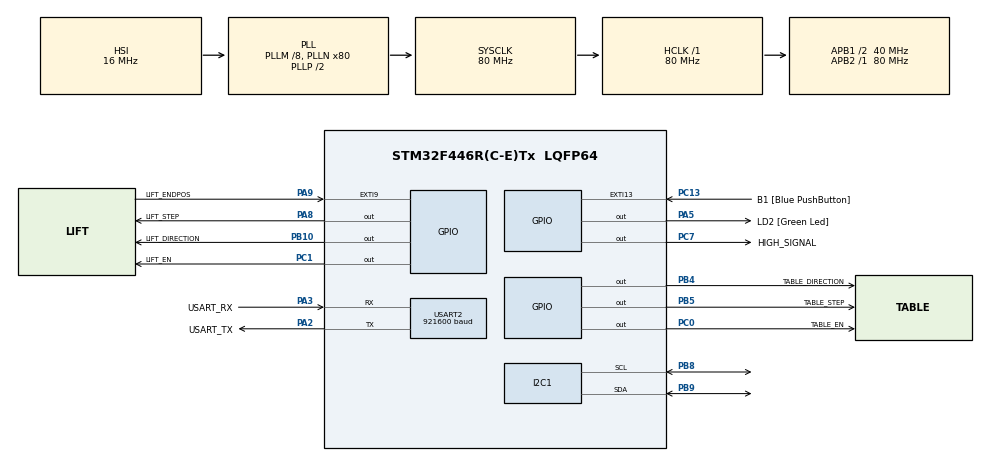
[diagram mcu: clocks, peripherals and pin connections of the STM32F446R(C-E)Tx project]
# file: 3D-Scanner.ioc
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Mcu.Family=STM32F4
Mcu.Name=STM32F446R(C-E)Tx
Mcu.Package=LQFP64
NVIC.PriorityGroup=NVIC_PRIORITYGROUP_0
NVIC.TIM2_IRQn=true\:0\:0\:false\:false\:true\:true\:true\:true
NVIC.TIM3_IRQn=true\:0\:0\:false\:false\:true\:true\:true\:true
NVIC.TIM4_IRQn=true\:0\:0\:false\:false\:true\:true\:true\:true
PA13.GPIO_Label=TMS
PA13.Mode=Serial_Wire
PA13.Signal=SYS_JTMS-SWDIO
PA14.GPIO_Label=TCK
PA14.Mode=Serial_Wire
PA14.Signal=SYS_JTCK-SWCLK
PA2.GPIO_Label=USART_TX
PA2.Mode=Asynchronous
PA2.Signal=USART2_TX
PA3.GPIO_Label=USART_RX
PA3.Mode=Asynchronous
PA3.Signal=USART2_RX
PA5.GPIO_Label=LD2 [Green Led]
PA5.Signal=GPIO_Output
PA8.GPIO_Label=LIFT_STEP
PA8.GPIO_Speed=GPIO_SPEED_FREQ_VERY_HIGH
PA8.Signal=GPIO_Output
PA9.GPIO_Label=LIFT_ENDPOS
PA9.GPIO_PuPd=GPIO_PULLDOWN
PA9.Signal=GPXTI9
PB10.GPIO_Label=LIFT_DIRECTION
PB10.Signal=GPIO_Output
PB3.GPIO_Label=SWO
PB3.Signal=SYS_JTDO-SWO
PB4.GPIO_Label=TABLE_DIRECTION
PB4.Signal=GPIO_Output
PB5.GPIO_Label=TABLE_STEP
PB5.GPIO_Speed=GPIO_SPEED_FREQ_VERY_HIGH
PB5.Signal=GPIO_Output
PB8.Mode=I2C
PB8.Signal=I2C1_SCL
PB9.Mode=I2C
PB9.Signal=I2C1_SDA
PC0.GPIO_Label=TABLE_EN
PC0.GPIO_Speed=GPIO_SPEED_FREQ_HIGH
PC0.Signal=GPIO_Output
PC1.GPIO_Label=LIFT_EN
PC1.GPIO_Speed=GPIO_SPEED_FREQ_HIGH
PC1.Signal=GPIO_Output
PC13.GPIO_Label=B1 [Blue PushButton]
PC13.GPIO_ModeDefaultEXTI=GPIO_MODE_IT_FALLING
PC13.Signal=GPXTI13
PC14-OSC32_IN.Mode=LSE-External-Oscillator
PC14-OSC32_IN.Signal=RCC_OSC32_IN
PC15-OSC32_OUT.Mode=LSE-External-Oscillator
PC15-OSC32_OUT.Signal=RCC_OSC32_OUT
PC7.GPIO_Label=HIGH_SIGNAL
PC7.PinState=GPIO_PIN_SET
PC7.Signal=GPIO_Output
PH0-OSC_IN.Mode=HSE-External-Oscillator
PH0-OSC_IN.Signal=RCC_OSC_IN
PH1-OSC_OUT.Mode=HSE-External-Oscillator
PH1-OSC_OUT.Signal=RCC_OSC_OUT
ProjectManager.HeapSize=0x200
ProjectManager.StackSize=0x400
ProjectManager.TargetToolchain=STM32CubeIDE
RCC.48MHZClocksFreq_Value=84000000
RCC.AHBFreq_Value=80000000
RCC.APB1CLKDivider=RCC_HCLK_DIV2
RCC.APB1Freq_Value=40000000
RCC.APB1TimFreq_Value=80000000
RCC.APB2Freq_Value=80000000
RCC.APB2TimFreq_Value=80000000
RCC.CortexFreq_Value=80000000
RCC.FLatency-AdvancedSettings=FLASH_LATENCY_2
RCC.HCLKFreq_Value=80000000
RCC.HSE_VALUE=8000000
RCC.HSI_VALUE=16000000
RCC.PLLM=8
RCC.PLLN=80
RCC.SYSCLKFreq_VALUE=80000000
RCC.SYSCLKSource=RCC_SYSCLKSOURCE_PLLCLK
RCC.USBFreq_Value=80000000
RCC.VCOOutputFreq_Value=160000000
TIM2.CounterMode=TIM_COUNTERMODE_DOWN
TIM2.Period=1
TIM2.Prescaler=4000-1
TIM3.Period=2500-1
TIM3.Prescaler=8000-1
TIM4.Period=80-1
TIM4.Prescaler=10000-1
USART2.BaudRate=921600
USART2.VirtualMode=VM_ASYNC
VP_TIM2_VS_ClockSourceINT.Mode=Internal
VP_TIM3_VS_ClockSourceINT.Mode=Internal
VP_TIM4_VS_ClockSourceINT.Mode=Internal
board=NUCLEO-F446RE

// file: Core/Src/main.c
/* USER CODE BEGIN Header */

/**
* Copyright 2022 Jean-Marcel Herzog
*
* Permission is hereby granted, free of charge, to any person obtaining a copy of this software and
* associated documentation files (the "Software"), to deal in the Software without restriction,
* including without limitation the rights to use, copy, modify, merge, publish, distribute, sublicense
* and/or sell copies of the Software, and to permit persons to whom the Software is furnished to do
* so, subject to the following conditions:
*
* The above copyright notice and this permission notice shall be included in all copies or
* substantial portions of the Software.
*
* THE SOFTWARE IS PROVIDED "AS IS", WITHOUT WARRANTY OF ANY KIND, EXPRESS OR IMPLIED,
* INCLUDING BUT NOT LIMITED TO THE WARRANTIES OF MERCHANTABILITY, FITNESS FOR A
* PARTICULAR PURPOSE AND NONINFRINGEMENT. IN NO EVENT SHALL THE AUTHORS OR
* COPYRIGHT HOLDERS BE LIABLE FOR ANY CLAIM, DAMAGES OR OTHER LIABILITY, WHETHER IN
* AN ACTION OF CONTRACT, TORT OR OTHERWISE, ARISING FROM, OUT OF OR IN CONNECTION
* WITH THE SOFTWARE OR THE USE OR OTHER DEALINGS IN THE SOFTWARE.
*/

/**
 * @author: Herzog, Jean-Marcel
 * @file main.c
 * @copyright Copyright 2022 Jean-Marcel Herzog. This project is released under the MIT license.
 * @date 11.05.2022
 * @version 1
*/

/* USER CODE END Header */
#include "main.h"

/* USER CODE BEGIN Includes */
#include "machine_parameter.h"
#include "vl6180x.h"
#include "types.h"
#include <math.h>
#include <string.h>
/* USER CODE END Includes */

 I2C_HandleTypeDef hi2c1;

TIM_HandleTypeDef htim2;
TIM_HandleTypeDef htim3;
TIM_HandleTypeDef htim4;

UART_HandleTypeDef huart2;

/* USER CODE BEGIN PV */
tScanner scanner;							/**< Scanner instance - contains all informations about the scanner. */
size_t point_index;							/**< Calculated point buffer index. */
tPoint points[10000];						/**< Buffer for calculated points. */
size_t measurement_index;					/**< Measured distances buffer index. */
tMeasurement measurements[N_MEASUREMENTS];	/**< Buffer for measured distances for one table turn. */
uint8_t tim2_activated;						/**< Flag for TIMER2 Interrupt - 0x01 := Interrupt activated 0x00 := Interrupt deactivated */
uint8_t tim3_activated;						/**< Flag for TIMER3 Interrupt - 0x01 := Interrupt activated 0x00 := Interrupt deactivated */
uint8_t tim4_activated;						/**< Flag for TIMER4 interrupt - 0x01 := Interrupt activated 0x00 := Interrupt deactivated */
uint8_t Z;									/**< Scanned rows counter variable. */
uint8_t i;									/**< Global index variable used by for-loops */
uint8_t invalid_measurements;				/**< Flag variable - 0x01 := Invalid measurements detected 0x00 := All measurements of last scanned row valid */
/* USER CODE END PV */

void SystemClock_Config(void);
static void MX_GPIO_Init(void);
static void MX_USART2_UART_Init(void);
static void MX_I2C1_Init(void);
static void MX_TIM2_Init(void);
static void MX_TIM3_Init(void);
static void MX_TIM4_Init(void);
/* USER CODE BEGIN PFP */
int16_t convert_float_to_int16(float *value);
uint8_t calculate_point(tPoint *p, size_t measurement_index);
/* USER CODE END PFP */

int main(void)
{
  /* USER CODE BEGIN 1 */

	//----------------------------------//
	// Initialize Scanner Object.		//
	//----------------------------------//
	scanner.state			= STATE_INITIALIZING;
	scanner.scan_running	= 0x00;
	scanner.lift_homed		= 0x00;
	scanner.lift_dir		= 0x00;
	point_index				= 0;
	measurement_index		= 0;
	tim3_activated			= 0;
	tim2_activated			= 0;
	invalid_measurements	= 0;

  /* USER CODE END 1 */

  /* MCU Configuration--------------------------------------------------------*/

  /* Reset of all peripherals, Initializes the Flash interface and the Systick. */
  HAL_Init();

  /* Configure the system clock */
  SystemClock_Config();

  /* Initialize all configured peripherals */
  MX_GPIO_Init();
  MX_USART2_UART_Init();
  MX_I2C1_Init();
  MX_TIM2_Init();
  MX_TIM3_Init();
  MX_TIM4_Init();
  /* USER CODE BEGIN 2 */

  uint8_t sensor_addr = 1;
  uint8_t ret = 0x00;
  while ( sensor_addr <= 255){
	  ret  = HAL_I2C_IsDeviceReady(&hi2c1, sensor_addr++, 3, 5);
	  if (ret == HAL_OK)
		  break;
  }

  /* USER CODE END 2 */

  /* Infinite loop */
  /* USER CODE BEGIN WHILE */
  while (1)
  {

		/*--------------------------------------------
		 * STATE: INITIALIZING
		 * --------------------------------------------*/
		if (scanner.state == STATE_INITIALIZING) {

			// Disable both stepper motors.
			HAL_GPIO_WritePin(TABLE_EN_GPIO_Port, TABLE_EN_Pin, GPIO_PIN_SET);
			HAL_GPIO_WritePin(LIFT_EN_GPIO_Port, LIFT_EN_Pin, GPIO_PIN_SET);

			// Initialize Distance Sensor
			DistanceSensor_Init(&scanner.sensor_a, &hi2c1, sensor_addr);

			// Set direction of lift to upwards
			scanner.lift_dir			= 0x01;
			scanner.lift_profile.pos	= LIFT_MIN_POS;

			// Set direction for table
			scanner.table_profile.pos = 0.0;
			HAL_GPIO_WritePin(TABLE_DIRECTION_GPIO_Port, TABLE_DIRECTION_Pin, GPIO_PIN_SET);

			// Start interrupt for status LED on evaluation board
			if (!tim3_activated)
			{
				tim3_activated = 0x01;
				HAL_TIM_Base_Start_IT(&htim3);
			}

			// Start interrupt for distance measurements
			if (!tim4_activated)
			{
				tim4_activated = 0x01;
				HAL_TIM_Base_Start_IT(&htim4);
			}

			generate_motion_profile(&scanner.table_profile, 360.0, 0.5, 80.0, 90.0, TABLE_STEPS_PER_ROTATION, 10000.0);
			generate_motion_profile(&scanner.lift_profile, 720.0, 0.5 , 800.0, 800.0, LIFT_STEPS_PER_MM, 10000.0);

			scanner.state = STATE_INITIALIZED;
		}

		/*--------------------------------------------
		 * STATE: INITIALIZED
		 * --------------------------------------------*/
		if (scanner.state == STATE_INITIALIZED) {

			if (HAL_GPIO_ReadPin(B1_GPIO_Port, B1_Pin) == 0x00 && HAL_GPIO_ReadPin(LIFT_ENDPOS_GPIO_Port, LIFT_ENDPOS_Pin) == 0x01)
				scanner.state = STATE_READY_TO_SCAN;
			else if (HAL_GPIO_ReadPin(B1_GPIO_Port, B1_Pin) == 0x00)
				scanner.state = STATE_HOME_LIFT;
		}

		/*--------------------------------------------
		 * STATE: HOME LIFT
		 * --------------------------------------------*/
		if (scanner.state == STATE_HOME_LIFT) {

			// Initiate stepper movement.
			if(scanner.lift_profile.enabled == 0x00 && HAL_GPIO_ReadPin(LIFT_ENDPOS_GPIO_Port, LIFT_ENDPOS_Pin) == 0x01)
			{
				tim2_activated	= 0x00;
				HAL_GPIO_WritePin(LIFT_EN_GPIO_Port, LIFT_EN_Pin, GPIO_PIN_SET);
				HAL_GPIO_WritePin(LIFT_DIRECTION_GPIO_Port, LIFT_DIRECTION_Pin, GPIO_PIN_RESET);
				HAL_TIM_Base_Stop_IT(&htim2);
				scanner.lift_profile.pos = 0.0;
				scanner.state = STATE_READY_TO_SCAN;
			}

			// Stepper requested movement done.
			else if(scanner.lift_profile.enabled == 0x00)
			{
				scanner.lift_profile.enabled	= 0x01;
				tim2_activated					= 0x01;
				HAL_GPIO_WritePin(LIFT_DIRECTION_GPIO_Port, LIFT_DIRECTION_Pin, GPIO_PIN_SET);
				HAL_GPIO_WritePin(LIFT_EN_GPIO_Port, LIFT_EN_Pin, GPIO_PIN_RESET);
				HAL_TIM_Base_Start_IT(&htim2);
			}
		}

		/*--------------------------------------------
		 * STATE: READY TO SCAN
		 * --------------------------------------------*/
		if (scanner.state == STATE_READY_TO_SCAN) {

			// Deactivate Interrupt for Status LED
			if (tim3_activated == 0x01) {
				tim3_activated = 0x00;
				HAL_TIM_Base_Stop_IT(&htim3);
				HAL_GPIO_WritePin(LD2_GPIO_Port, LD2_Pin, GPIO_PIN_SET);
			}

			// Start Scan
			if ( HAL_GPIO_ReadPin(B1_GPIO_Port, B1_Pin) == 0x00 )
			{
				scanner.scan_running = 0x01;
				scanner.state = STATE_MOVE_TABLE;
			}
		}

		/*--------------------------------------------
		 * STATE: STATE MOVE TABLE
		 * --------------------------------------------*/
		if (scanner.state == STATE_MOVE_TABLE) {

			// Initiate table stepper movement.
			if (tim2_activated == 0x00) {
				reset_motion_profile(&scanner.table_profile, 10000.0);

				// Initial scanned point at position 0.0°.
				measurements[measurement_index].distance = scanner.sensor_a.distance;
				measurements[measurement_index++].position = 0.0;

				scanner.table_profile.enabled = 0x01;
				tim2_activated = 0x01;
				HAL_GPIO_WritePin(TABLE_EN_GPIO_Port, TABLE_EN_Pin, GPIO_PIN_RESET);
				HAL_TIM_Base_Start_IT(&htim2);

			}

			// Stepper requested movement done
			if (scanner.table_profile.enabled == 0x00) {
				tim2_activated = 0x00;
				HAL_GPIO_WritePin(TABLE_EN_GPIO_Port, TABLE_EN_Pin, GPIO_PIN_SET);
				HAL_TIM_Base_Stop_IT(&htim2);

				if (scanner.lift_profile.pos >= 90.0)
					scanner.scan_running = 0x00;

				scanner.state = STATE_CALC_POINTS;

			} else if (scanner.scan_running == 0x01) { scanner.state = STATE_SCAN_ROW; }
		}

		/*--------------------------------------------
		 * STATE: STATE CALC AND TRANSFER POINTS
		 * --------------------------------------------*/
		if (scanner.state == STATE_CALC_POINTS) {

			uint8_t message[6] = { 0x00 };
			uint16_t temp;
			float end_val = -1.0;

			invalid_measurements = 0;
			for (i = 0; i < measurement_index; i++) {
				if (measurements[measurement_index].distance >= 100.0)
					invalid_measurements++;

				calculate_point(points + point_index, i);
				point_index++;
			}
			measurement_index = 0;

			// Abort current scan when invalid distances measured from sensor.
			if (invalid_measurements > 3) {
				scanner.scan_running = 0x00;
			} else {
				// Transfer points over UART
				for (i = point_index - N_MEASUREMENTS; i < point_index; i++) {
					temp = convert_float_to_int16(&(points[i].x));
					memcpy(message, &temp, sizeof(uint16_t));
					temp = convert_float_to_int16(&(points[i].y));
					memcpy(message + 2, &temp, sizeof(uint16_t));
					temp = convert_float_to_int16(&(points[i].z));
					memcpy(message + 4, &temp, sizeof(uint16_t));

					HAL_UART_Transmit(&huart2, message, sizeof(message), HAL_MAX_DELAY);
					HAL_Delay(10);
				}
			}

			if (scanner.scan_running == 0x01) {
				scanner.state = STATE_MOVE_LIFT;
			} else {
				// Transmit end of points message (-10, -100, -100)
				temp = convert_float_to_int16(&end_val);
				memcpy(message, &temp, sizeof(uint16_t));
				memcpy(message + 2, &temp, sizeof(uint16_t));
				memcpy(message + 4, &temp, sizeof(uint16_t));
				HAL_UART_Transmit(&huart2, message, sizeof(message), HAL_MAX_DELAY);
				HAL_Delay(10);

				scanner.state = STATE_CALC_STL;
			}
		}

		/*--------------------------------------------
		 * STATE: STATE CALC AND TRANSFER STL FILE
		 * --------------------------------------------*/
		if (scanner.state == STATE_CALC_STL) {
			uint16_t z;
			float v1_x, v1_y, v1_z;
			float v2_x, v2_y, v2_z;
			float v3_x, v3_y, v3_z;
			float n_x, n_y, n_z;
			uint16_t temp;
			uint8_t message[24] = { 0x00 };

			for (z = 1; z < Z - 1; z++) {
				for (i = (z * N_MEASUREMENTS) - N_MEASUREMENTS; i < (z * N_MEASUREMENTS) - 1; i++) {
					// Calculate vectors for first "rectangle"
					v1_x = points[i + N_MEASUREMENTS].x - points[i].x;
					v1_y = points[i + N_MEASUREMENTS].y - points[i].y;
					v1_z = points[i + N_MEASUREMENTS].z - points[i].z;

					v2_x = points[i + 1 + N_MEASUREMENTS].x - points[i].x;
					v2_y = points[i + 1 + N_MEASUREMENTS].y - points[i].y;
					v2_z = points[i + 1 + N_MEASUREMENTS].z - points[i].z;

					v3_x = points[i + 1].x - points[i].x;
					v3_y = points[i + 1].y - points[i].y;
					v3_z = points[i + 1].z - points[i].z;

					// calculate normal vector for first triangle of "rectangle"
					n_x = (v1_y * v2_z) - (v1_z * v2_y);
					n_y = (v1_z * v2_x) - (v1_x * v2_z);
					n_z = (v1_x * v2_y) - (v1_y * v2_x);

					// transmit first rectangle
					temp = convert_float_to_int16(&n_x);
					memcpy(message, &temp, sizeof(uint16_t));
					temp = convert_float_to_int16(&n_y);
					memcpy(message + 2, &temp, sizeof(uint16_t));
					temp = convert_float_to_int16(&n_z);
					memcpy(message + 4, &temp, sizeof(uint16_t));
					temp = convert_float_to_int16(&(points[i].x));
					memcpy(message + 6, &temp, sizeof(uint16_t));
					temp = convert_float_to_int16(&(points[i].y));
					memcpy(message + 8, &temp, sizeof(uint16_t));
					temp = convert_float_to_int16(&(points[i].z));
					memcpy(message + 10, &temp, sizeof(uint16_t));
					temp = convert_float_to_int16(&(points[i + N_MEASUREMENTS].x));
					memcpy(message + 12, &temp, sizeof(uint16_t));
					temp = convert_float_to_int16(&(points[i + N_MEASUREMENTS].y));
					memcpy(message + 14, &temp, sizeof(uint16_t));
					temp = convert_float_to_int16(&(points[i + N_MEASUREMENTS].z));
					memcpy(message + 16, &temp, sizeof(uint16_t));
					temp = convert_float_to_int16(&(points[i + 1 + N_MEASUREMENTS].x));
					memcpy(message + 18, &temp, sizeof(uint16_t));
					temp = convert_float_to_int16(&(points[i + 1 + N_MEASUREMENTS].y));
					memcpy(message + 20, &temp, sizeof(uint16_t));
					temp = convert_float_to_int16(&(points[i + 1 + N_MEASUREMENTS].z));
					memcpy(message + 22, &temp, sizeof(uint16_t));

					HAL_UART_Transmit(&huart2, message, sizeof(message), HAL_MAX_DELAY);
					HAL_Delay(10);

					// calculate normal vector for second triangle of "rectangle"
					n_x = (v3_y * v2_z) - (v3_z * v2_y);
					n_y = (v3_z * v2_x) - (v3_x * v2_z);
					n_z = (v3_x * v2_y) - (v3_y * v2_x);

					// transmit second triangle
					temp = convert_float_to_int16(&n_x);
					memcpy(message, &temp, sizeof(uint16_t));
					temp = convert_float_to_int16(&n_y);
					memcpy(message + 2, &temp, sizeof(uint16_t));
					temp = convert_float_to_int16(&n_z);
					memcpy(message + 4, &temp, sizeof(uint16_t));
					temp = convert_float_to_int16(&(points[i].x));
					memcpy(message + 6, &temp, sizeof(uint16_t));
					temp = convert_float_to_int16(&(points[i].y));
					memcpy(message + 8, &temp, sizeof(uint16_t));
					temp = convert_float_to_int16(&(points[i].z));
					memcpy(message + 10, &temp, sizeof(uint16_t));
					temp = convert_float_to_int16(&(points[i + 1 + N_MEASUREMENTS].x));
					memcpy(message + 12, &temp, sizeof(uint16_t));
					temp = convert_float_to_int16(&(points[i + 1 + N_MEASUREMENTS].y));
					memcpy(message + 14, &temp, sizeof(uint16_t));
					temp = convert_float_to_int16(&(points[i + 1 + N_MEASUREMENTS].z));
					memcpy(message + 16, &temp, sizeof(uint16_t));
					temp = convert_float_to_int16(&(points[i + 1].x));
					memcpy(message + 18, &temp, sizeof(uint16_t));
					temp = convert_float_to_int16(&(points[i + 1].y));
					memcpy(message + 20, &temp, sizeof(uint16_t));
					temp = convert_float_to_int16(&(points[i + 1].z));
					memcpy(message + 22, &temp, sizeof(uint16_t));

					HAL_UART_Transmit(&huart2, message, sizeof(message), HAL_MAX_DELAY);
					HAL_Delay(10);

				}

				//
				// Last vertex of row
				//

				v1_x = points[(z * N_MEASUREMENTS) - 1].x - points[(z * N_MEASUREMENTS) + N_MEASUREMENTS - 1].x;
				v1_y = points[(z * N_MEASUREMENTS) - 1].y - points[(z * N_MEASUREMENTS) + N_MEASUREMENTS - 1].y;
				v1_z = points[(z * N_MEASUREMENTS) - 1].z - points[(z * N_MEASUREMENTS) + N_MEASUREMENTS - 1].z;

				v2_x = points[(z * N_MEASUREMENTS) - 1].x - points[(z * N_MEASUREMENTS)].x;
				v2_y = points[(z * N_MEASUREMENTS) - 1].y - points[(z * N_MEASUREMENTS)].y;
				v2_z = points[(z * N_MEASUREMENTS) - 1].z - points[(z * N_MEASUREMENTS)].z;

				v3_x = points[(z * N_MEASUREMENTS) - N_MEASUREMENTS].x - points[(z * N_MEASUREMENTS) - 1].x;
				v3_y = points[(z * N_MEASUREMENTS) - N_MEASUREMENTS].y - points[(z * N_MEASUREMENTS) - 1].y;
				v3_z = points[(z * N_MEASUREMENTS) - N_MEASUREMENTS].z - points[(z * N_MEASUREMENTS) - 1].z;

				n_x = (v1_y * v2_z) - (v1_z * v2_y);
				n_y = (v1_z * v2_x) - (v1_x * v2_z);
				n_z = (v1_x * v2_y) - (v1_y * v2_x);

				temp = convert_float_to_int16(&n_x);
				memcpy(message, &temp, sizeof(uint16_t));
				temp = convert_float_to_int16(&n_y);
				memcpy(message + 2, &temp, sizeof(uint16_t));
				temp = convert_float_to_int16(&n_z);
				memcpy(message + 4, &temp, sizeof(uint16_t));
				temp = convert_float_to_int16(&(points[(z * N_MEASUREMENTS) - 1].x));
				memcpy(message + 6, &temp, sizeof(uint16_t));
				temp = convert_float_to_int16(&(points[(z * N_MEASUREMENTS) - 1].y));
				memcpy(message + 8, &temp, sizeof(uint16_t));
				temp = convert_float_to_int16(&(points[(z * N_MEASUREMENTS) - 1].z));
				memcpy(message + 10, &temp, sizeof(uint16_t));
				temp = convert_float_to_int16(&(points[(z * N_MEASUREMENTS) + N_MEASUREMENTS - 1].x));
				memcpy(message + 12, &temp, sizeof(uint16_t));
				temp = convert_float_to_int16(&(points[(z * N_MEASUREMENTS) + N_MEASUREMENTS - 1].y));
				memcpy(message + 14, &temp, sizeof(uint16_t));
				temp = convert_float_to_int16(&(points[(z * N_MEASUREMENTS) + N_MEASUREMENTS - 1].z));
				memcpy(message + 16, &temp, sizeof(uint16_t));
				temp = convert_float_to_int16(&(points[(z * N_MEASUREMENTS)].x));
				memcpy(message + 18, &temp, sizeof(uint16_t));
				temp = convert_float_to_int16(&(points[(z * N_MEASUREMENTS)].y));
				memcpy(message + 20, &temp, sizeof(uint16_t));
				temp = convert_float_to_int16(&(points[(z * N_MEASUREMENTS)].z));
				memcpy(message + 22, &temp, sizeof(uint16_t));

				HAL_UART_Transmit(&huart2, message, sizeof(message), HAL_MAX_DELAY);
				HAL_Delay(10);

				n_x = (v3_y * v2_z) - (v3_z * v2_y);
				n_y = (v3_z * v2_x) - (v3_x * v2_z);
				n_z = (v3_x * v2_y) - (v3_y * v2_x);

				temp = convert_float_to_int16(&n_x);
				memcpy(message, &temp, sizeof(uint16_t));
				temp = convert_float_to_int16(&n_y);
				memcpy(message + 2, &temp, sizeof(uint16_t));
				temp = convert_float_to_int16(&n_z);
				memcpy(message + 4, &temp, sizeof(uint16_t));
				temp = convert_float_to_int16(&(points[i].x));
				memcpy(message + 6, &temp, sizeof(uint16_t));
				temp = convert_float_to_int16(&(points[i].y));
				memcpy(message + 8, &temp, sizeof(uint16_t));
				temp = convert_float_to_int16(&(points[i].z));
				memcpy(message + 10, &temp, sizeof(uint16_t));
				temp = convert_float_to_int16(&(points[(z * N_MEASUREMENTS)].x));
				memcpy(message + 12, &temp, sizeof(uint16_t));
				temp = convert_float_to_int16(&(points[(z * N_MEASUREMENTS)].y));
				memcpy(message + 14, &temp, sizeof(uint16_t));
				temp = convert_float_to_int16(&(points[(z * N_MEASUREMENTS)].z));
				memcpy(message + 16, &temp, sizeof(uint16_t));
				temp = convert_float_to_int16(&(points[(z * N_MEASUREMENTS) - N_MEASUREMENTS].x));
				memcpy(message + 18, &temp, sizeof(uint16_t));
				temp = convert_float_to_int16(&(points[(z * N_MEASUREMENTS) - N_MEASUREMENTS].y));
				memcpy(message + 20, &temp, sizeof(uint16_t));
				temp = convert_float_to_int16(&(points[(z * N_MEASUREMENTS) - N_MEASUREMENTS].z));
				memcpy(message + 22, &temp, sizeof(uint16_t));

				HAL_UART_Transmit(&huart2, message, sizeof(message), HAL_MAX_DELAY);
				HAL_Delay(10);
			}
			scanner.state = STATE_HOME_LIFT;
		}

		/*--------------------------------------------
		 * STATE: STATE MOVE LIFT
		 * --------------------------------------------*/
		if (scanner.state == STATE_MOVE_LIFT) {

			// Initiate stepper motor movement.
			if (tim2_activated == 0x00) {
				reset_motion_profile(&scanner.lift_profile, 10000.0);
				scanner.lift_profile.enabled = 0x01;
				tim2_activated = 0x01;
				HAL_GPIO_WritePin(LIFT_EN_GPIO_Port, LIFT_EN_Pin, GPIO_PIN_RESET);
				HAL_TIM_Base_Start_IT(&htim2);
			}

			// Stepper motor movement done.
			if (scanner.lift_profile.enabled == 0x00) {
				tim2_activated = 0x00;
				HAL_GPIO_WritePin(LIFT_EN_GPIO_Port, LIFT_EN_Pin, GPIO_PIN_SET);
				HAL_TIM_Base_Stop_IT(&htim2);
				scanner.state = STATE_MOVE_TABLE;
			}
		}

		/*--------------------------------------------
		 * STATE: STATE SCAN ROW
		 * --------------------------------------------*/
		if (scanner.state == STATE_SCAN_ROW) {

			if (scanner.table_profile.pos - measurements[measurement_index - 1].position >= 3.6) {
				measurements[measurement_index].distance = scanner.sensor_a.distance;
				measurements[measurement_index].position = scanner.table_profile.pos;
				measurement_index++;
			}

			if (scanner.table_profile.enabled == 0x00) {
				Z += 1;
				scanner.state = STATE_MOVE_TABLE;
			}
		}

    /* USER CODE END WHILE */

  }
}

void SystemClock_Config(void)
{
  RCC_OscInitTypeDef RCC_OscInitStruct = {0};
  RCC_ClkInitTypeDef RCC_ClkInitStruct = {0};

  /** Configure the main internal regulator output voltage
  */
  __HAL_RCC_PWR_CLK_ENABLE();
  __HAL_PWR_VOLTAGESCALING_CONFIG(PWR_REGULATOR_VOLTAGE_SCALE3);

  /** Initializes the RCC Oscillators according to the specified parameters
  * in the RCC_OscInitTypeDef structure.
  */
  RCC_OscInitStruct.OscillatorType = RCC_OSCILLATORTYPE_HSI;
  RCC_OscInitStruct.HSIState = RCC_HSI_ON;
  RCC_OscInitStruct.HSICalibrationValue = RCC_HSICALIBRATION_DEFAULT;
  RCC_OscInitStruct.PLL.PLLState = RCC_PLL_ON;
  RCC_OscInitStruct.PLL.PLLSource = RCC_PLLSOURCE_HSI;
  RCC_OscInitStruct.PLL.PLLM = 8;
  RCC_OscInitStruct.PLL.PLLN = 80;
  RCC_OscInitStruct.PLL.PLLP = RCC_PLLP_DIV2;
  RCC_OscInitStruct.PLL.PLLQ = 2;
  RCC_OscInitStruct.PLL.PLLR = 2;
  if (HAL_RCC_OscConfig(&RCC_OscInitStruct) != HAL_OK)
  {
    Error_Handler();
  }

  /** Initializes the CPU, AHB and APB buses clocks
  */
  RCC_ClkInitStruct.ClockType = RCC_CLOCKTYPE_HCLK|RCC_CLOCKTYPE_SYSCLK
                              |RCC_CLOCKTYPE_PCLK1|RCC_CLOCKTYPE_PCLK2;
  RCC_ClkInitStruct.SYSCLKSource = RCC_SYSCLKSOURCE_PLLCLK;
  RCC_ClkInitStruct.AHBCLKDivider = RCC_SYSCLK_DIV1;
  RCC_ClkInitStruct.APB1CLKDivider = RCC_HCLK_DIV2;
  RCC_ClkInitStruct.APB2CLKDivider = RCC_HCLK_DIV1;

  if (HAL_RCC_ClockConfig(&RCC_ClkInitStruct, FLASH_LATENCY_2) != HAL_OK)
  {
    Error_Handler();
  }
}

static void MX_I2C1_Init(void)
{

  hi2c1.Instance = I2C1;
  hi2c1.Init.ClockSpeed = 100000;
  hi2c1.Init.DutyCycle = I2C_DUTYCYCLE_2;
  hi2c1.Init.OwnAddress1 = 0;
  hi2c1.Init.AddressingMode = I2C_ADDRESSINGMODE_7BIT;
  hi2c1.Init.DualAddressMode = I2C_DUALADDRESS_DISABLE;
  hi2c1.Init.OwnAddress2 = 0;
  hi2c1.Init.GeneralCallMode = I2C_GENERALCALL_DISABLE;
  hi2c1.Init.NoStretchMode = I2C_NOSTRETCH_DISABLE;
  if (HAL_I2C_Init(&hi2c1) != HAL_OK)
  {
    Error_Handler();
  }

}

static void MX_TIM2_Init(void)
{

  TIM_ClockConfigTypeDef sClockSourceConfig = {0};
  TIM_MasterConfigTypeDef sMasterConfig = {0};

  htim2.Instance = TIM2;
  htim2.Init.Prescaler = 4000-1;
  htim2.Init.CounterMode = TIM_COUNTERMODE_DOWN;
  htim2.Init.Period = 1;
  htim2.Init.ClockDivision = TIM_CLOCKDIVISION_DIV1;
  htim2.Init.AutoReloadPreload = TIM_AUTORELOAD_PRELOAD_DISABLE;
  if (HAL_TIM_Base_Init(&htim2) != HAL_OK)
  {
    Error_Handler();
  }
  sClockSourceConfig.ClockSource = TIM_CLOCKSOURCE_INTERNAL;
  if (HAL_TIM_ConfigClockSource(&htim2, &sClockSourceConfig) != HAL_OK)
  {
    Error_Handler();
  }
  sMasterConfig.MasterOutputTrigger = TIM_TRGO_RESET;
  sMasterConfig.MasterSlaveMode = TIM_MASTERSLAVEMODE_DISABLE;
  if (HAL_TIMEx_MasterConfigSynchronization(&htim2, &sMasterConfig) != HAL_OK)
  {
    Error_Handler();
  }

}

static void MX_TIM3_Init(void)
{

  TIM_ClockConfigTypeDef sClockSourceConfig = {0};
  TIM_MasterConfigTypeDef sMasterConfig = {0};

  htim3.Instance = TIM3;
  htim3.Init.Prescaler = 8000-1;
  htim3.Init.CounterMode = TIM_COUNTERMODE_UP;
  htim3.Init.Period = 2500-1;
  htim3.Init.ClockDivision = TIM_CLOCKDIVISION_DIV1;
  htim3.Init.AutoReloadPreload = TIM_AUTORELOAD_PRELOAD_DISABLE;
  if (HAL_TIM_Base_Init(&htim3) != HAL_OK)
  {
    Error_Handler();
  }
  sClockSourceConfig.ClockSource = TIM_CLOCKSOURCE_INTERNAL;
  if (HAL_TIM_ConfigClockSource(&htim3, &sClockSourceConfig) != HAL_OK)
  {
    Error_Handler();
  }
  sMasterConfig.MasterOutputTrigger = TIM_TRGO_RESET;
  sMasterConfig.MasterSlaveMode = TIM_MASTERSLAVEMODE_DISABLE;
  if (HAL_TIMEx_MasterConfigSynchronization(&htim3, &sMasterConfig) != HAL_OK)
  {
    Error_Handler();
  }

}

static void MX_TIM4_Init(void)
{

  TIM_ClockConfigTypeDef sClockSourceConfig = {0};
  TIM_MasterConfigTypeDef sMasterConfig = {0};

  htim4.Instance = TIM4;
  htim4.Init.Prescaler = 10000-1;
  htim4.Init.CounterMode = TIM_COUNTERMODE_UP;
  htim4.Init.Period = 80-1;
  htim4.Init.ClockDivision = TIM_CLOCKDIVISION_DIV1;
  htim4.Init.AutoReloadPreload = TIM_AUTORELOAD_PRELOAD_DISABLE;
  if (HAL_TIM_Base_Init(&htim4) != HAL_OK)
  {
    Error_Handler();
  }
  sClockSourceConfig.ClockSource = TIM_CLOCKSOURCE_INTERNAL;
  if (HAL_TIM_ConfigClockSource(&htim4, &sClockSourceConfig) != HAL_OK)
  {
    Error_Handler();
  }
  sMasterConfig.MasterOutputTrigger = TIM_TRGO_RESET;
  sMasterConfig.MasterSlaveMode = TIM_MASTERSLAVEMODE_DISABLE;
  if (HAL_TIMEx_MasterConfigSynchronization(&htim4, &sMasterConfig) != HAL_OK)
  {
    Error_Handler();
  }

}

static void MX_USART2_UART_Init(void)
{

  huart2.Instance = USART2;
  huart2.Init.BaudRate = 921600;
  huart2.Init.WordLength = UART_WORDLENGTH_8B;
  huart2.Init.StopBits = UART_STOPBITS_1;
  huart2.Init.Parity = UART_PARITY_NONE;
  huart2.Init.Mode = UART_MODE_TX_RX;
  huart2.Init.HwFlowCtl = UART_HWCONTROL_NONE;
  huart2.Init.OverSampling = UART_OVERSAMPLING_16;
  if (HAL_UART_Init(&huart2) != HAL_OK)
  {
    Error_Handler();
  }

}

static void MX_GPIO_Init(void)
{
  GPIO_InitTypeDef GPIO_InitStruct = {0};

  /* GPIO Ports Clock Enable */
  __HAL_RCC_GPIOC_CLK_ENABLE();
  __HAL_RCC_GPIOH_CLK_ENABLE();
  __HAL_RCC_GPIOA_CLK_ENABLE();
  __HAL_RCC_GPIOB_CLK_ENABLE();

  /*Configure GPIO pin Output Level */
  HAL_GPIO_WritePin(GPIOC, TABLE_EN_Pin|LIFT_EN_Pin, GPIO_PIN_RESET);

  /*Configure GPIO pin Output Level */
  HAL_GPIO_WritePin(GPIOA, LD2_Pin|LIFT_STEP_Pin, GPIO_PIN_RESET);

  /*Configure GPIO pin Output Level */
  HAL_GPIO_WritePin(GPIOB, LIFT_DIRECTION_Pin|TABLE_DIRECTION_Pin|TABLE_STEP_Pin, GPIO_PIN_RESET);

  /*Configure GPIO pin Output Level */
  HAL_GPIO_WritePin(HIGH_SIGNAL_GPIO_Port, HIGH_SIGNAL_Pin, GPIO_PIN_SET);

  /*Configure GPIO pin : B1_Pin */
  GPIO_InitStruct.Pin = B1_Pin;
  GPIO_InitStruct.Mode = GPIO_MODE_IT_FALLING;
  GPIO_InitStruct.Pull = GPIO_NOPULL;
  HAL_GPIO_Init(B1_GPIO_Port, &GPIO_InitStruct);

  /*Configure GPIO pins : TABLE_EN_Pin LIFT_EN_Pin */
  GPIO_InitStruct.Pin = TABLE_EN_Pin|LIFT_EN_Pin;
  GPIO_InitStruct.Mode = GPIO_MODE_OUTPUT_PP;
  GPIO_InitStruct.Pull = GPIO_NOPULL;
  GPIO_InitStruct.Speed = GPIO_SPEED_FREQ_HIGH;
  HAL_GPIO_Init(GPIOC, &GPIO_InitStruct);

  /*Configure GPIO pin : LD2_Pin */
  GPIO_InitStruct.Pin = LD2_Pin;
  GPIO_InitStruct.Mode = GPIO_MODE_OUTPUT_PP;
  GPIO_InitStruct.Pull = GPIO_NOPULL;
  GPIO_InitStruct.Speed = GPIO_SPEED_FREQ_LOW;
  HAL_GPIO_Init(LD2_GPIO_Port, &GPIO_InitStruct);

  /*Configure GPIO pins : LIFT_DIRECTION_Pin TABLE_DIRECTION_Pin */
  GPIO_InitStruct.Pin = LIFT_DIRECTION_Pin|TABLE_DIRECTION_Pin;
  GPIO_InitStruct.Mode = GPIO_MODE_OUTPUT_PP;
  GPIO_InitStruct.Pull = GPIO_NOPULL;
  GPIO_InitStruct.Speed = GPIO_SPEED_FREQ_LOW;
  HAL_GPIO_Init(GPIOB, &GPIO_InitStruct);

  /*Configure GPIO pin : HIGH_SIGNAL_Pin */
  GPIO_InitStruct.Pin = HIGH_SIGNAL_Pin;
  GPIO_InitStruct.Mode = GPIO_MODE_OUTPUT_PP;
  GPIO_InitStruct.Pull = GPIO_NOPULL;
  GPIO_InitStruct.Speed = GPIO_SPEED_FREQ_LOW;
  HAL_GPIO_Init(HIGH_SIGNAL_GPIO_Port, &GPIO_InitStruct);

  /*Configure GPIO pin : LIFT_STEP_Pin */
  GPIO_InitStruct.Pin = LIFT_STEP_Pin;
  GPIO_InitStruct.Mode = GPIO_MODE_OUTPUT_PP;
  GPIO_InitStruct.Pull = GPIO_NOPULL;
  GPIO_InitStruct.Speed = GPIO_SPEED_FREQ_VERY_HIGH;
  HAL_GPIO_Init(LIFT_STEP_GPIO_Port, &GPIO_InitStruct);

  /*Configure GPIO pin : LIFT_ENDPOS_Pin */
  GPIO_InitStruct.Pin = LIFT_ENDPOS_Pin;
  GPIO_InitStruct.Mode = GPIO_MODE_IT_RISING;
  GPIO_InitStruct.Pull = GPIO_PULLDOWN;
  HAL_GPIO_Init(LIFT_ENDPOS_GPIO_Port, &GPIO_InitStruct);

  /*Configure GPIO pin : TABLE_STEP_Pin */
  GPIO_InitStruct.Pin = TABLE_STEP_Pin;
  GPIO_InitStruct.Mode = GPIO_MODE_OUTPUT_PP;
  GPIO_InitStruct.Pull = GPIO_NOPULL;
  GPIO_InitStruct.Speed = GPIO_SPEED_FREQ_VERY_HIGH;
  HAL_GPIO_Init(TABLE_STEP_GPIO_Port, &GPIO_InitStruct);

}

/* USER CODE BEGIN 4 */

/*
 * @brief Calculate 3D-Point from measured distance.
 *
 * @param p Pointer where the calculated point should be saved.
 *
 * @param measurement_index Index where the measured distance get found.
 *
 * @return 0x00 := NO_ERROR
 */
uint8_t calculate_point(tPoint *p, size_t measurement_index)
{
	float r		= 65.0 - (float)measurements[measurement_index].distance;
	float angle = measurements[measurement_index].position / 360.0 * 2.0 * 3.1415; // DEG TO RAD

	p->x = (r * cosf(angle)) + 100.0;
	p->y = (r * sinf(angle)) + 100.0;
	p->z = scanner.lift_profile.pos;

	return 0x00;

}

/*
 * @brief Convert float to 16 bit integer.
 *
 * @param value Pointer to the float value
 *
 * @return converted value
 */
int16_t convert_float_to_int16(float *value)
{
	if(*value > 65535.0 || *value < -65535.0)
		return -1;

	return (int16_t)(*value * 100.0);
}

/* USER CODE END 4 */

void Error_Handler(void)
{
  /* USER CODE BEGIN Error_Handler_Debug */
  /* User can add his own implementation to report the HAL error return state */
  __disable_irq();
  while (1)
  {
	  HAL_GPIO_WritePin(LD2_GPIO_Port, LD2_Pin, GPIO_PIN_RESET);
  }
  /* USER CODE END Error_Handler_Debug */
}
